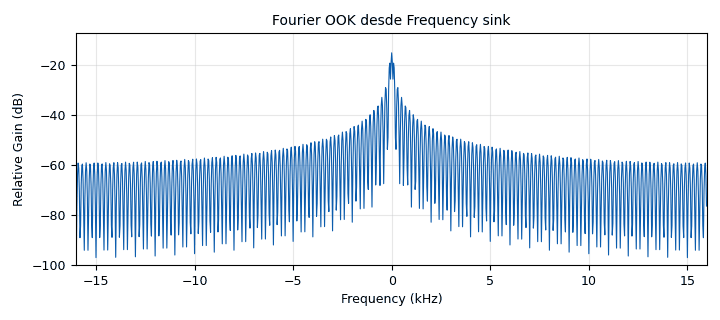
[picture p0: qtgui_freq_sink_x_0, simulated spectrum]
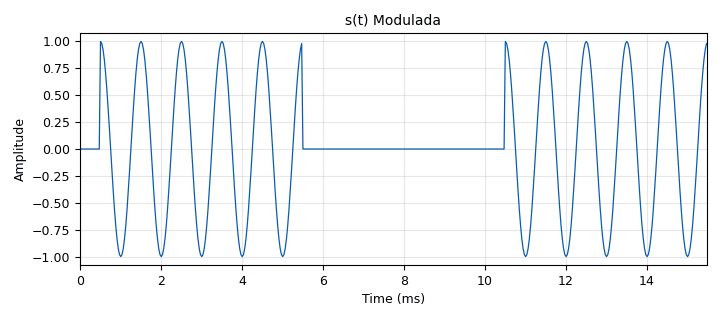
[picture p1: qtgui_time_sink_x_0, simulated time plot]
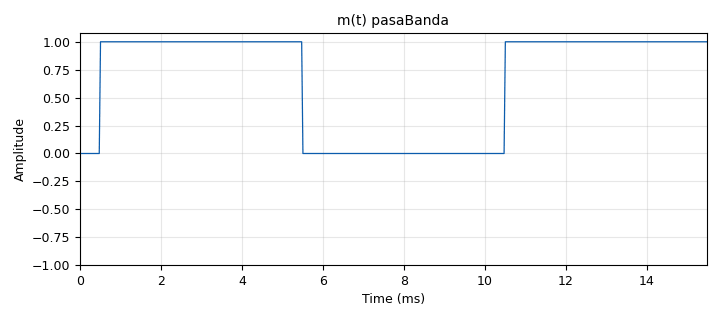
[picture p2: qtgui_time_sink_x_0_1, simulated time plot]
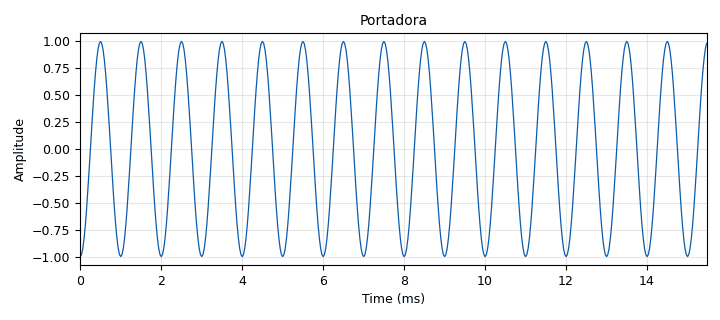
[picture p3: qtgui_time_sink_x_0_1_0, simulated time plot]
options:
  parameters:
    generate_options: qt_gui
    id: Lab3ActividadPrevia
    output_language: python
    title: Lab3ActividadPrevia
  states: {}

blocks:
- name: LongitudVector
  id: variable
  parameters:
    value: int(3.1*samp_rate/(2*R))
  states: {}
- name: R
  id: variable
  parameters:
    value: '100'
  states: {}
- name: samp_rate
  id: variable
  parameters:
    value: '32000'
  states: {}
- name: analog_sig_source_x_0
  id: analog_sig_source_x
  parameters:
    amp: '1'
    freq: R*10
    offset: '0'
    phase: '0'
    samp_rate: samp_rate
    type: float
    waveform: analog.GR_COS_WAVE
  states: {}
- name: analog_sig_source_x_0_0
  id: analog_sig_source_x
  parameters:
    amp: '1'
    freq: R
    offset: '0'
    phase: '0'
    samp_rate: samp_rate
    type: float
    waveform: analog.GR_SQR_WAVE
  states: {}
- name: blocks_float_to_complex_0
  id: blocks_float_to_complex
  parameters: {}
  states: {state: disabled}
- name: blocks_multiply_xx_0
  id: blocks_multiply_xx
  parameters:
    type: float
  states: {}
- name: qtgui_freq_sink_x_0
  id: qtgui_freq_sink_x
  parameters:
    autoscale: 'True'
    bw: samp_rate
    fc: '0'
    fftsize: 1024*1
    name: Fourier OOK desde Frequency sink
    type: float
  states: {}
- name: qtgui_time_sink_x_0
  id: qtgui_time_sink_x
  parameters:
    name: s(t) Modulada
    size: LongitudVector
    srate: samp_rate
    type: float
  states: {}
- name: qtgui_time_sink_x_0_1
  id: qtgui_time_sink_x
  parameters:
    name: m(t) pasaBanda
    size: LongitudVector
    srate: samp_rate
    type: float
  states: {}
- name: qtgui_time_sink_x_0_1_0
  id: qtgui_time_sink_x
  parameters:
    name: Portadora
    size: LongitudVector
    srate: samp_rate
    type: float
  states: {}
- name: uhd_usrp_sink_0
  id: uhd_usrp_sink
  parameters:
    ant0: '"TX/RX"'
    center_freq0: '0'
    gain0: '0'
    samp_rate: samp_rate
    sync: sync
    type: fc32
  states: {state: disabled}

connections:
- [analog_sig_source_x_0, '0', blocks_multiply_xx_0, '0']
- [analog_sig_source_x_0, '0', qtgui_time_sink_x_0_1_0, '0']
- [analog_sig_source_x_0_0, '0', blocks_multiply_xx_0, '1']
- [analog_sig_source_x_0_0, '0', qtgui_freq_sink_x_0, '0']
- [analog_sig_source_x_0_0, '0', qtgui_time_sink_x_0_1, '0']
- [blocks_float_to_complex_0, '0', uhd_usrp_sink_0, '0']
- [blocks_multiply_xx_0, '0', blocks_float_to_complex_0, '0']
- [blocks_multiply_xx_0, '0', qtgui_time_sink_x_0, '0']

metadata:
  file_format: 1
